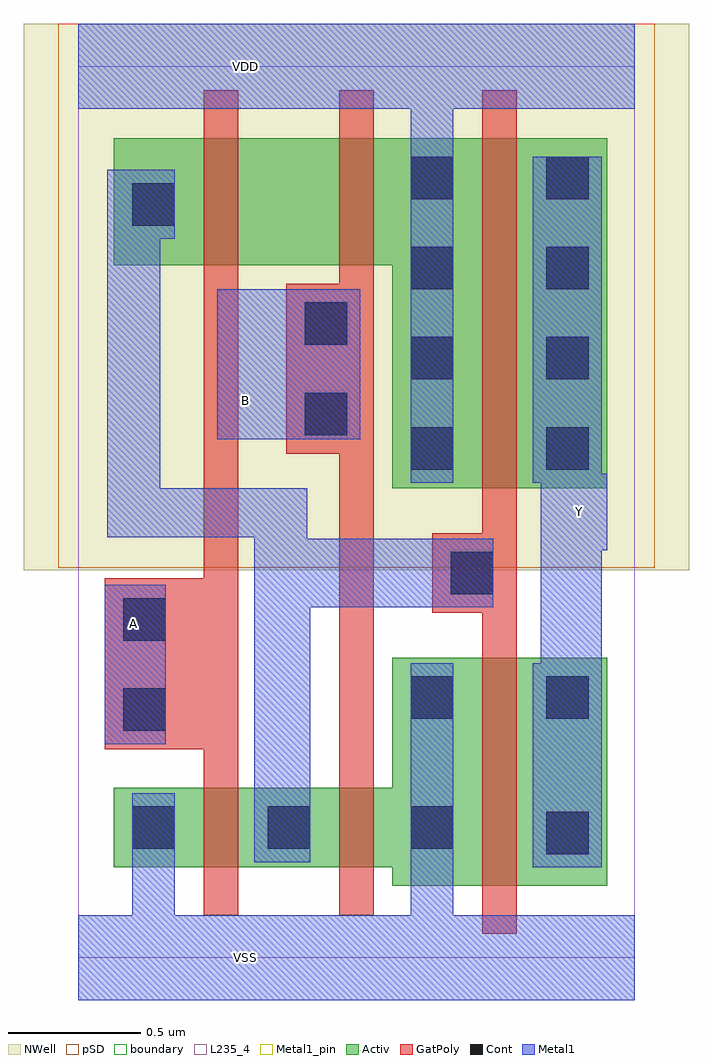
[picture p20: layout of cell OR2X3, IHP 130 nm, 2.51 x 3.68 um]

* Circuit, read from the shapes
.subckt OR2X3 A B VDD VSS Y
XM1 n1 A VSS VSUBS sg13_lv_nmos w=0.3u l=0.13u
XM2 VSS B n1 VSUBS sg13_lv_nmos w=0.3u l=0.13u
XM3 Y n1 VSS VSUBS sg13_lv_nmos w=0.86u l=0.13u
XM4 n2 A n1 n3 sg13_lv_pmos w=0.48u l=0.13u
XM5 VDD B n2 n3 sg13_lv_pmos w=0.48u l=0.13u
XM6 Y n1 VDD n3 sg13_lv_pmos w=1.32u l=0.13u
.ends

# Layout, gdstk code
import gdstk
lib = gdstk.Library(unit=1e-6, precision=1e-09)
def R(c, l, rs):  # rectangles x0, y0, x1, y1
    for r in rs: c.add(gdstk.rectangle(r[:2], r[2:], *l))
def A(c, l, x, y, w, h, nx, ny, dx, dy):  # array of equal rectangles
    R(c, l, [(x+i*dx, y+j*dy, x+i*dx+w, y+j*dy+h) for i in range(nx) for j in range(ny)])
def P(c, l, *ps):  # polygons
    for p in ps: c.add(gdstk.Polygon(p, *l))
Activ = (1, 0)
GatPoly = (5, 0)
Cont = (6, 0)
Metal1 = (8, 0)
Metal1_pin = (8, 2)
pSD = (14, 0)
NWell = (31, 0)
boundary = (189, 4)
L235_4 = (235, 4)

or2x3 = lib.new_cell('OR2X3')
P(or2x3, Activ, [(1.185,0.27),(1.185,0.34),(0.135,0.34),(0.135,0.64),(1.185,0.64),(1.185,1.13),(1.995,1.13),(1.995,0.27)],
  [(1.185,1.77),(1.185,2.61),(0.135,2.61),(0.135,3.09),(1.995,3.09),(1.995,1.77)])
P(or2x3, GatPoly, [(0.985,0.16),(0.985,1.9),(0.785,1.9),(0.785,2.54),(0.985,2.54),(0.985,3.27),(1.115,3.27),(1.115,0.16)],
  [(0.475,0.16),(0.475,0.785),(0.1,0.785),(0.1,1.43),(0.475,1.43),(0.475,3.27),(0.605,3.27),(0.605,0.16)],
  [(1.525,0.09),(1.525,1.3),(1.335,1.3),(1.335,1.6),(1.525,1.6),(1.525,3.27),(1.655,3.27),(1.655,0.09)])
A(or2x3, Cont, 1.255, 1.84, 0.16, 0.16, 1, 4, 0, 0.34)
A(or2x3, Cont, 1.765, 1.84, 0.16, 0.16, 1, 4, 0, 0.34)
R(or2x3, Cont, [(1.765,0.39,1.925,0.55), (0.205,0.41,0.365,0.57), (0.715,0.41,0.875,0.57), (1.255,0.41,1.415,0.57), (0.17,0.855,0.33,1.015), (1.255,0.9,1.415,1.06), (1.765,0.9,1.925,1.06), (0.17,1.195,0.33,1.355), (1.405,1.37,1.565,1.53), (0.855,1.97,1.015,2.13), (0.855,2.31,1.015,2.47), (0.205,2.76,0.365,2.92)])
R(or2x3, Metal1, [(0.1,0.805,0.33,1.405), (0.525,1.955,1.065,2.52)])
P(or2x3, Metal1, [(0,-0.16),(0,0.16),(0.205,0.16),(0.205,0.62),(0.365,0.62),(0.365,0.16),(1.255,0.16),(1.255,1.11),(1.415,1.11),(1.415,0.16),(2.1,0.16),(2.1,-0.16)],
  [(1.255,1.79),(1.255,3.2),(0,3.2),(0,3.52),(2.1,3.52),(2.1,3.2),(1.415,3.2),(1.415,1.79)],
  [(1.715,0.34),(1.715,1.11),(1.745,1.11),(1.745,1.79),(1.715,1.79),(1.715,3.02),(1.975,3.02),(1.975,1.825),(1.995,1.825),(1.995,1.535),(1.975,1.535),(1.975,0.34)],
  [(0.665,0.36),(0.665,1.585),(0.11,1.585),(0.11,2.97),(0.365,2.97),(0.365,2.71),(0.31,2.71),(0.31,1.77),(0.865,1.77),(0.865,1.58),(1.565,1.58),(1.565,1.32),(0.875,1.32),(0.875,0.36)])
R(or2x3, Metal1_pin, [(0,-0.16,2.1,0.16), (0.205,0.16,0.365,0.62), (1.255,0.16,1.415,1.11), (0.1,0.805,0.33,1.405), (1.255,1.79,1.415,3.2), (0.525,1.955,1.065,2.52), (0,3.2,2.1,3.52)])
P(or2x3, Metal1_pin, [(1.715,0.34),(1.715,1.11),(1.745,1.11),(1.745,1.79),(1.715,1.79),(1.715,3.02),(1.975,3.02),(1.975,1.825),(1.995,1.825),(1.995,1.535),(1.975,1.535),(1.975,0.34)])
R(or2x3, pSD, [(-0.075,1.47,2.175,3.52)])
R(or2x3, NWell, [(-0.205,1.46,2.305,3.52)])
R(or2x3, boundary, [(0,0,2.1,3.36)])
R(or2x3, L235_4, [(0,0,2.1,3.36)])
or2x3.add(gdstk.Label('VDD', (0.63,3.36), layer=8, texttype=25))
or2x3.add(gdstk.Label('A', (0.21,1.26), layer=8, texttype=25))
or2x3.add(gdstk.Label('B', (0.63,2.1), layer=8, texttype=25))
or2x3.add(gdstk.Label('VSS', (0.63,0), layer=8, texttype=25))
or2x3.add(gdstk.Label('Y', (1.89,1.68), layer=8, texttype=25))

lib.write_gds('OR2X3.gds')
